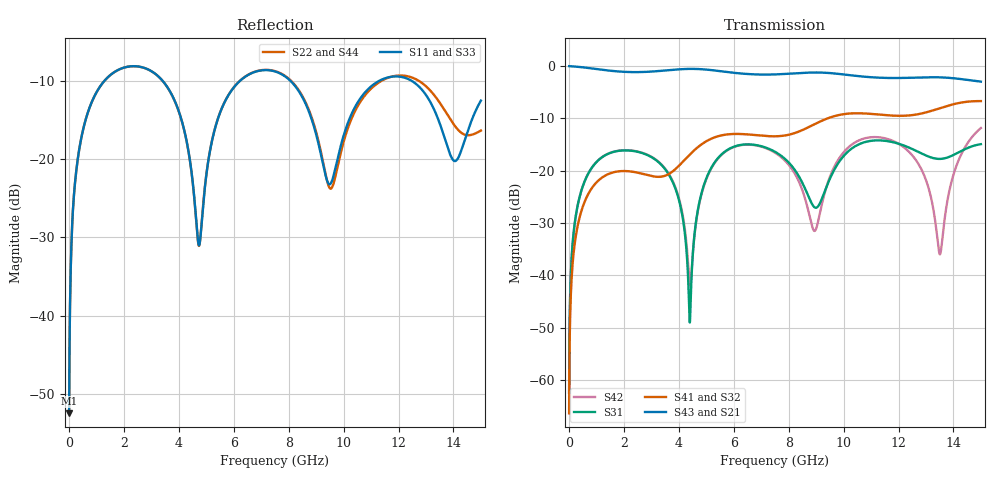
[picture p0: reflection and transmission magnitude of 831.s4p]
! Created with skrf 1.8.0 (http://scikit-rf.org).
# GHz S RI R 50.0
!freq ReS11 ImS11 ReS12 ImS12 ReS13 ImS13
! ReS14 ImS14
! ReS21 ImS21 ReS22 ImS22 ReS23 ImS23
! ReS24 ImS24
! ReS31 ImS31 ReS32 ImS32 ReS33 ImS33
! ReS34 ImS34
! ReS41 ImS41 ReS42 ImS42 ReS43 ImS43
! ReS44 ImS44
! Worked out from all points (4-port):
!   2499 points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, 5 MHz to 15 GHz, reference 50 ohm
!   strongest paths, dB at 5 MHz, 3.476 GHz, 7.19 GHz, 11.1 GHz, 15 GHz:
!     S43: 0.0, -0.9, -1.6, -2.2, -3.0
!     S21: 0.0, -0.9, -1.6, -2.2, -3.0
!     S41: -66.4, -21.0, -13.4, -9.2, -6.7
!     S32: -66.4, -21.0, -13.4, -9.2, -6.7
!     S31: -62.4, -19.5, -15.6, -14.2, -14.9
!     S42: -62.4, -19.4, -15.7, -13.6, -11.8
!   lowest |S11| = -52.5 dB at 5 MHz (marker M1), VSWR 1.00, Z = 50.2 + j0.144 ohm
!   |S11| at or under -10 dB: 3.412 GHz to 6.226 GHz (2.814 GHz wide, 58.4 % of centre); 8.066 GHz to 11.29 GHz (3.227 GHz wide, 33.3 % of centre); 12.48 GHz to end of sweep (the widest 3 of 4)
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0.005  0.00189 0.00144  0.9981 -0.00368  9.58e-05 0.000751  -9.3e-05 -0.000471
       0.9981 -0.00368  0.00189 0.00144  -9.3e-05 -0.000471  9.58e-05 0.000751
       9.58e-05 0.000751  -9.3e-05 -0.000471  0.00189 0.00144  0.9981 -0.00368
       -9.3e-05 -0.000471  9.58e-05 0.000751  0.9981 -0.00368  0.00189 0.00144
0.3626511  0.0386 0.1057  0.9466 -0.2612  0.0186 0.0495  -0.0154 -0.03
           0.9466 -0.2612  0.0385 0.1057  -0.0154 -0.0301  0.0187 0.0495
           0.0186 0.0495  -0.0154 -0.0301  0.0386 0.1057  0.9466 -0.2612
           -0.0154 -0.03  0.0187 0.0495  0.9466 -0.2612  0.0385 0.1057
1.725719  0.3436 0.1277  0.3581 -0.8163  0.1501 0.0325  -0.0945 0.0256
          0.3581 -0.8163  0.3432 0.1282  -0.0945 0.0255  0.1511 0.0301
          0.1501 0.0325  -0.0945 0.0255  0.3437 0.1276  0.3581 -0.8163
          -0.0945 0.0256  0.1511 0.0301  0.3581 -0.8163  0.3432 0.1283
4.395581  0.0474 -0.0889  -0.8948 -0.2886  -0.00347 -0.000902  -0.0388 0.137
          -0.8948 -0.2886  0.0474 -0.0881  -0.04 0.1367  -0.00783 -0.00272
          -0.00347 -0.000902  -0.04 0.1367  0.0462 -0.0899  -0.8946 -0.2888
          -0.0388 0.137  -0.00783 -0.00272  -0.8946 -0.2888  0.0489 -0.0882
5.589829  0.1479 0.1574  -0.7747 0.4357  0.1169 0.0874  0.138 0.1695
          -0.7747 0.4357  0.1474 0.1589  0.1367 0.1707  0.1145 0.0885
          0.1169 0.0874  0.1367 0.1707  0.1459 0.1579  -0.775 0.4356
          0.138 0.1695  0.1145 0.0885  -0.775 0.4356  0.1485 0.157
9.572739  0.0711 0.0131  0.8496 0.0906  -0.00542 0.0918  0.0223 -0.3261
          0.8496 0.0906  0.0654 0.00527  0.0272 -0.3259  0.0172 0.0956
          -0.00542 0.0918  0.0272 -0.3259  0.0691 0.0119  0.8496 0.0907
          0.0223 -0.3261  0.0172 0.0956  0.8496 0.0907  0.0673 0.00299
15  0.198 0.1298  -0.6934 0.1577  0.0166 0.1786  0.1547 0.4361
    -0.6934 0.1577  0.1522 0.00227  0.144 0.4383  0.2298 0.1125
    0.0166 0.1786  0.144 0.4383  0.199 0.1382  -0.6918 0.1611
    0.1547 0.4361  0.2298 0.1125  -0.6918 0.1611  0.1509 0.0049
